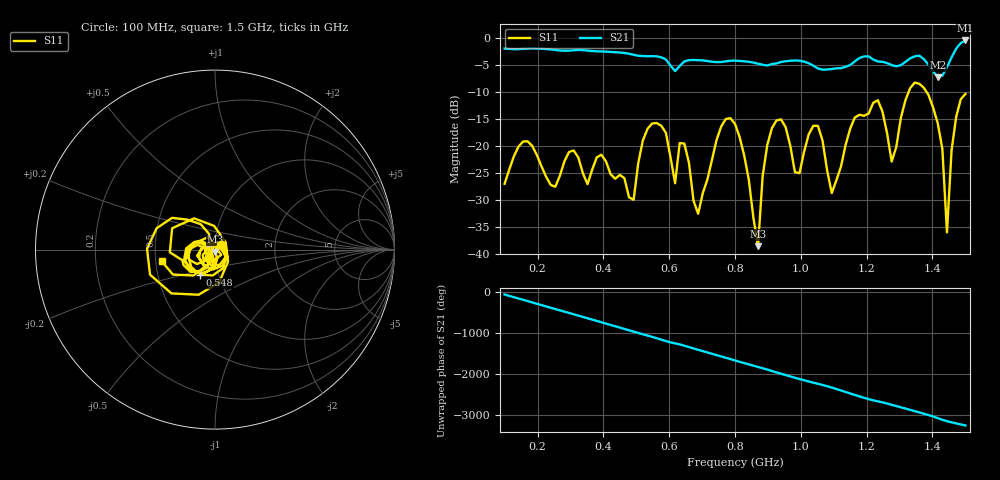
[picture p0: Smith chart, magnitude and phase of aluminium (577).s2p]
! NanoVNA-App
! Date: 2025-09-25 14:59:46
! Start: 100MHz Stop: 1,5GHz Points: 101
! S-Parameter data: F S11 S21 S12 S22
# Hz S RI R 50
!  Frequency  S11_Real  S11_Imag  S21_Real  S21_Imag  S12_Real  S12_Imag  S22_Real  S22_Imag
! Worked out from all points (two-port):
!   101 points, 100 MHz to 1.5 GHz, reference 50 ohm
!   highest |S21| = -0.42 dB at 1.5 GHz (marker M1); lowest = -7.2 dB at 1.416 GHz (marker M2)
!   |S21| within 3 dB of the highest: start of sweep to 566.4 MHz; 1.459 GHz to end of sweep (the widest 2 of 4)
!   lowest |S11| = -38.5 dB at 870 MHz (marker M3), VSWR 1.02, Z = 50.2 - j1.18 ohm
!   |S11| at or under -10 dB: start of sweep to 1.327 GHz; 1.382 GHz to end of sweep
!   S12 and S22 are empty: the file has one direction only
!   S11 on the Smith chart (normalised r, x): 100 MHz: 1.07, +0.06; 548 MHz: 0.82, -0.24; 1.5 GHz: 0.54, -0.08
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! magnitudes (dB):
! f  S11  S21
! 100 MHz  -27.0  -1.9
! 156 MHz  -19.1  -2.0
! 338 MHz  -25.0  -2.2
! 492 MHz  -29.9  -3.1
! 548 MHz  -15.8  -3.3
! 576 MHz  -16.2  -3.5
! 618 MHz  -26.9  -6.1
! 646 MHz  -19.5  -4.3
! 688 MHz  -32.5  -4.1
! 800 MHz  -15.9  -4.1
! 870 MHz  -38.5  -4.7
! 912 MHz  -16.7  -4.8
! 996 MHz  -25.0  -4.2
! 1.038 GHz  -16.2  -5.1
! 1.094 GHz  -28.7  -5.7
! 1.234 GHz  -11.5  -4.3
! 1.276 GHz  -22.8  -5.0
! 1.346 GHz  -8.2  -3.3
! 1.416 GHz  -15.8  -7.2
! 1.444 GHz  -36.0  -5.3
! 1.458 GHz  -20.8  -3.5
! 1.5 GHz  -10.3  -0.4
